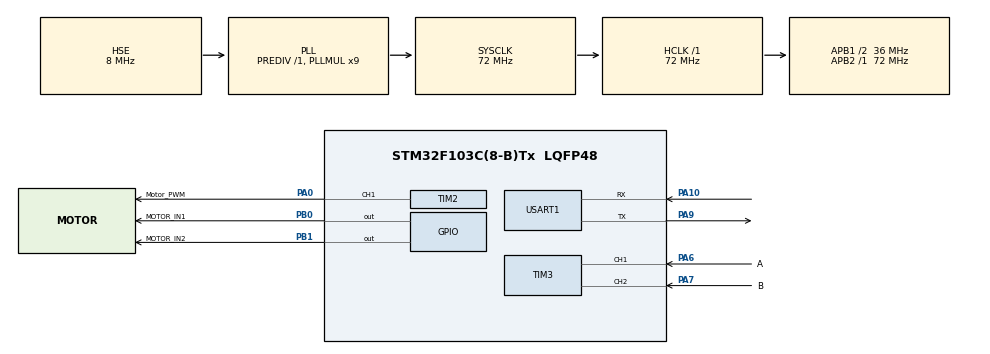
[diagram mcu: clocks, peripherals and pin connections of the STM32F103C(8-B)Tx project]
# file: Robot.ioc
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Mcu.Family=STM32F1
Mcu.Name=STM32F103C(8-B)Tx
Mcu.Package=LQFP48
NVIC.PriorityGroup=NVIC_PRIORITYGROUP_4
NVIC.TIM4_IRQn=true\:0\:0\:false\:false\:true\:true\:true\:true
PA0-WKUP.GPIO_Label=Motor_PWM
PA0-WKUP.Signal=S_TIM2_CH1_ETR
PA10.Mode=Asynchronous
PA10.Signal=USART1_RX
PA13.Mode=Serial_Wire
PA13.Signal=SYS_JTMS-SWDIO
PA14.Mode=Serial_Wire
PA14.Signal=SYS_JTCK-SWCLK
PA6.GPIO_Label=A
PA6.Signal=S_TIM3_CH1
PA7.GPIO_Label=B
PA7.Signal=S_TIM3_CH2
PA9.Mode=Asynchronous
PA9.Signal=USART1_TX
PB0.GPIO_Label=MOTOR_IN1
PB0.Signal=GPIO_Output
PB1.GPIO_Label=MOTOR_IN2
PB1.Signal=GPIO_Output
PD0-OSC_IN.Mode=HSE-External-Oscillator
PD0-OSC_IN.Signal=RCC_OSC_IN
PD1-OSC_OUT.Mode=HSE-External-Oscillator
PD1-OSC_OUT.Signal=RCC_OSC_OUT
ProjectManager.HeapSize=0x200
ProjectManager.StackSize=0x400
ProjectManager.TargetToolchain=MDK-ARM V5.32
RCC.AHBFreq_Value=72000000
RCC.APB1CLKDivider=RCC_HCLK_DIV2
RCC.APB1Freq_Value=36000000
RCC.APB1TimFreq_Value=72000000
RCC.APB2Freq_Value=72000000
RCC.APB2TimFreq_Value=72000000
RCC.HCLKFreq_Value=72000000
RCC.PLLMUL=RCC_PLL_MUL9
RCC.PLLSourceVirtual=RCC_PLLSOURCE_HSE
RCC.SYSCLKFreq_VALUE=72000000
RCC.SYSCLKSource=RCC_SYSCLKSOURCE_PLLCLK
RCC.USBFreq_Value=72000000
SH.S_TIM2_CH1_ETR.0=TIM2_CH1,PWM Generation1 CH1
SH.S_TIM3_CH1.0=TIM3_CH1,Encoder_Interface
SH.S_TIM3_CH2.0=TIM3_CH2,Encoder_Interface
TIM2.Channel-PWM\ Generation1\ CH1=TIM_CHANNEL_1
TIM2.Period=999
TIM2.Prescaler=71
TIM3.EncoderMode=TIM_ENCODERMODE_TI12
TIM4.Period=99
TIM4.Prescaler=7199
USART1.VirtualMode=VM_ASYNC
VP_TIM4_VS_ClockSourceINT.Mode=Internal
board=custom

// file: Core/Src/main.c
/* USER CODE BEGIN Header */
/**
  ******************************************************************************
  * @file           : main.c
  * @brief          : Main program body
  ******************************************************************************
  * @attention
  *
  * Copyright (c) 2025 STMicroelectronics.
  * All rights reserved.
  *
  * This software is licensed under terms that can be found in the LICENSE file
  * in the root directory of this software component.
  * If no LICENSE file comes with this software, it is provided AS-IS.
  *
  ******************************************************************************
  */
/* USER CODE END Header */
#include "main.h"
#include "tim.h"
#include "usart.h"
#include "gpio.h"

/* USER CODE BEGIN Includes */
#include "motor.h"
#include "vofa.h"
#include "bsp.h"
#include "pid.h"
#include "controller.h"
/* USER CODE END Includes */

/* USER CODE BEGIN PV */
float filtered_speed=0.0f;
const float a=0.8;
PID_t speed_pid;
PID_t position_pid;
Motor_t left_motor;
/* USER CODE END PV */

void SystemClock_Config(void);

int main(void)
{

  /* MCU Configuration--------------------------------------------------------*/

  /* Reset of all peripherals, Initializes the Flash interface and the Systick. */
  HAL_Init();

  /* Configure the system clock */
  SystemClock_Config();

  /* Initialize all configured peripherals */
  MX_GPIO_Init();
  MX_TIM3_Init();
  MX_USART1_UART_Init();
  MX_TIM2_Init();
  MX_TIM4_Init();
  /* USER CODE BEGIN 2 */
  BSP_Init();
	Controller_Init();
  HAL_TIM_Base_Start_IT(&htim4);
  Controller_Set_Target_Position(1320*5);
//	Motor_Set_PWM(&left_motor,1000);
  /* USER CODE END 2 */

  /* Infinite loop */
  while (1)
  {

  }
}

void SystemClock_Config(void)
{
  RCC_OscInitTypeDef RCC_OscInitStruct = {0};
  RCC_ClkInitTypeDef RCC_ClkInitStruct = {0};

  /** Initializes the RCC Oscillators according to the specified parameters
  * in the RCC_OscInitTypeDef structure.
  */
  RCC_OscInitStruct.OscillatorType = RCC_OSCILLATORTYPE_HSE;
  RCC_OscInitStruct.HSEState = RCC_HSE_ON;
  RCC_OscInitStruct.HSEPredivValue = RCC_HSE_PREDIV_DIV1;
  RCC_OscInitStruct.HSIState = RCC_HSI_ON;
  RCC_OscInitStruct.PLL.PLLState = RCC_PLL_ON;
  RCC_OscInitStruct.PLL.PLLSource = RCC_PLLSOURCE_HSE;
  RCC_OscInitStruct.PLL.PLLMUL = RCC_PLL_MUL9;
  if (HAL_RCC_OscConfig(&RCC_OscInitStruct) != HAL_OK)
  {
    Error_Handler();
  }

  /** Initializes the CPU, AHB and APB buses clocks
  */
  RCC_ClkInitStruct.ClockType = RCC_CLOCKTYPE_HCLK|RCC_CLOCKTYPE_SYSCLK
                              |RCC_CLOCKTYPE_PCLK1|RCC_CLOCKTYPE_PCLK2;
  RCC_ClkInitStruct.SYSCLKSource = RCC_SYSCLKSOURCE_PLLCLK;
  RCC_ClkInitStruct.AHBCLKDivider = RCC_SYSCLK_DIV1;
  RCC_ClkInitStruct.APB1CLKDivider = RCC_HCLK_DIV2;
  RCC_ClkInitStruct.APB2CLKDivider = RCC_HCLK_DIV1;

  if (HAL_RCC_ClockConfig(&RCC_ClkInitStruct, FLASH_LATENCY_2) != HAL_OK)
  {
    Error_Handler();
  }
}

/* USER CODE BEGIN 4 */
void HAL_TIM_PeriodElapsedCallback(TIM_HandleTypeDef *htim)
{
  if(htim->Instance==TIM4)
  {
    Controller_Update_Callback();
  }
}
/* USER CODE END 4 */

void Error_Handler(void)
{
  __disable_irq();
  while (1)
  {
  }
}
